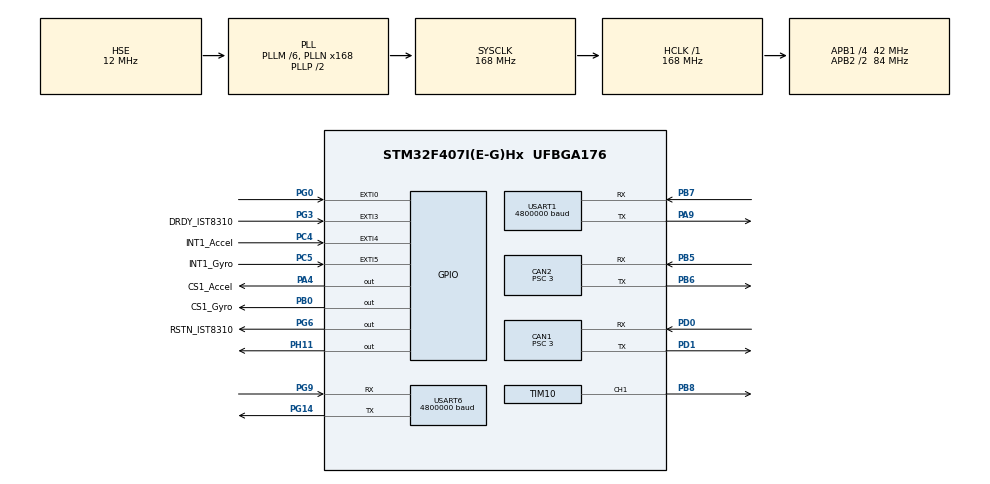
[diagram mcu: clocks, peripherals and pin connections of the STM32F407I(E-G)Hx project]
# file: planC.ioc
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CAN1.BS1=CAN_BS1_10TQ
CAN1.BS2=CAN_BS2_3TQ
CAN1.CalculateBaudRate=1000000
CAN1.CalculateTimeBit=1000
CAN1.CalculateTimeQuantum=71.42857142857143
CAN1.Prescaler=3
CAN2.BS1=CAN_BS1_10TQ
CAN2.BS2=CAN_BS2_3TQ
CAN2.CalculateBaudRate=1000000
CAN2.CalculateTimeBit=1000
CAN2.CalculateTimeQuantum=71.42857142857143
CAN2.Prescaler=3
Dma.Request0=USART1_TX
Dma.Request1=USART6_TX
Dma.Request2=USART1_RX
Dma.Request3=USART6_RX
Dma.USART1_RX.2.Direction=DMA_PERIPH_TO_MEMORY
Dma.USART1_RX.2.FIFOMode=DMA_FIFOMODE_DISABLE
Dma.USART1_RX.2.Instance=DMA2_Stream5
Dma.USART1_RX.2.MemDataAlignment=DMA_MDATAALIGN_BYTE
Dma.USART1_RX.2.MemInc=DMA_MINC_ENABLE
Dma.USART1_RX.2.Mode=DMA_NORMAL
Dma.USART1_RX.2.PeriphDataAlignment=DMA_PDATAALIGN_BYTE
Dma.USART1_RX.2.PeriphInc=DMA_PINC_DISABLE
Dma.USART1_RX.2.Priority=DMA_PRIORITY_VERY_HIGH
Dma.USART1_TX.0.Direction=DMA_MEMORY_TO_PERIPH
Dma.USART1_TX.0.FIFOMode=DMA_FIFOMODE_DISABLE
Dma.USART1_TX.0.Instance=DMA2_Stream7
Dma.USART1_TX.0.MemDataAlignment=DMA_MDATAALIGN_BYTE
Dma.USART1_TX.0.MemInc=DMA_MINC_ENABLE
Dma.USART1_TX.0.Mode=DMA_NORMAL
Dma.USART1_TX.0.PeriphDataAlignment=DMA_PDATAALIGN_BYTE
Dma.USART1_TX.0.PeriphInc=DMA_PINC_DISABLE
Dma.USART1_TX.0.Priority=DMA_PRIORITY_VERY_HIGH
Dma.USART6_RX.3.Direction=DMA_PERIPH_TO_MEMORY
Dma.USART6_RX.3.FIFOMode=DMA_FIFOMODE_DISABLE
Dma.USART6_RX.3.Instance=DMA2_Stream1
Dma.USART6_RX.3.MemDataAlignment=DMA_MDATAALIGN_BYTE
Dma.USART6_RX.3.MemInc=DMA_MINC_ENABLE
Dma.USART6_RX.3.Mode=DMA_NORMAL
Dma.USART6_RX.3.PeriphDataAlignment=DMA_PDATAALIGN_BYTE
Dma.USART6_RX.3.PeriphInc=DMA_PINC_DISABLE
Dma.USART6_RX.3.Priority=DMA_PRIORITY_VERY_HIGH
Dma.USART6_TX.1.Direction=DMA_MEMORY_TO_PERIPH
Dma.USART6_TX.1.FIFOMode=DMA_FIFOMODE_DISABLE
Dma.USART6_TX.1.Instance=DMA2_Stream6
Dma.USART6_TX.1.MemDataAlignment=DMA_MDATAALIGN_BYTE
Dma.USART6_TX.1.MemInc=DMA_MINC_ENABLE
Dma.USART6_TX.1.Mode=DMA_NORMAL
Dma.USART6_TX.1.PeriphDataAlignment=DMA_PDATAALIGN_BYTE
Dma.USART6_TX.1.PeriphInc=DMA_PINC_DISABLE
Dma.USART6_TX.1.Priority=DMA_PRIORITY_VERY_HIGH
Mcu.Family=STM32F4
Mcu.Name=STM32F407I(E-G)Hx
Mcu.Package=UFBGA176
NVIC.CAN1_RX0_IRQn=true\:2\:0\:true\:false\:true\:true\:true\:true
NVIC.CAN1_RX1_IRQn=true\:2\:0\:true\:false\:true\:true\:true\:true
NVIC.CAN2_RX0_IRQn=true\:5\:0\:true\:false\:true\:true\:true\:true
NVIC.CAN2_RX1_IRQn=true\:5\:0\:true\:false\:true\:true\:true\:true
NVIC.DMA2_Stream1_IRQn=true\:0\:0\:false\:false\:true\:false\:true\:false
NVIC.DMA2_Stream5_IRQn=true\:0\:0\:false\:false\:true\:false\:true\:true
NVIC.DMA2_Stream6_IRQn=true\:0\:0\:false\:false\:true\:true\:true\:true
NVIC.DMA2_Stream7_IRQn=true\:0\:0\:false\:false\:true\:true\:true\:true
NVIC.EXTI0_IRQn=true\:6\:0\:true\:false\:true\:true\:true\:true
NVIC.EXTI3_IRQn=true\:0\:0\:false\:false\:true\:true\:true\:true
NVIC.EXTI4_IRQn=true\:0\:0\:false\:false\:true\:true\:true\:true
NVIC.EXTI9_5_IRQn=true\:5\:0\:true\:false\:true\:true\:true\:true
NVIC.PriorityGroup=NVIC_PRIORITYGROUP_4
NVIC.TIM4_IRQn=true\:3\:0\:true\:false\:true\:true\:true\:true
NVIC.USART1_IRQn=true\:1\:0\:true\:false\:false\:true\:true\:true
NVIC.USART6_IRQn=true\:1\:0\:true\:false\:false\:true\:true\:true
PA13.Mode=Serial_Wire
PA13.Signal=SYS_JTMS-SWDIO
PA14.Mode=Serial_Wire
PA14.Signal=SYS_JTCK-SWCLK
PA4.GPIO_Label=CS1_Accel
PA4.GPIO_PuPd=GPIO_PULLUP
PA4.GPIO_Speed=GPIO_SPEED_FREQ_HIGH
PA4.PinState=GPIO_PIN_SET
PA4.Signal=GPIO_Output
PA9.Mode=Asynchronous
PA9.Signal=USART1_TX
PB0.GPIO_Label=CS1_Gyro
PB0.GPIO_PuPd=GPIO_PULLUP
PB0.GPIO_Speed=GPIO_SPEED_FREQ_HIGH
PB0.PinState=GPIO_PIN_SET
PB0.Signal=GPIO_Output
PB5.Mode=CAN_Activate
PB5.Signal=CAN2_RX
PB6.Mode=CAN_Activate
PB6.Signal=CAN2_TX
PB7.Mode=Asynchronous
PB7.Signal=USART1_RX
PB8.Signal=S_TIM10_CH1
PC4.GPIO_Label=INT1_Accel
PC4.GPIO_ModeDefaultEXTI=GPIO_MODE_IT_FALLING
PC4.GPIO_PuPd=GPIO_PULLUP
PC4.Signal=GPXTI4
PC5.GPIO_Label=INT1_Gyro
PC5.GPIO_ModeDefaultEXTI=GPIO_MODE_IT_FALLING
PC5.GPIO_PuPd=GPIO_PULLUP
PC5.Signal=GPXTI5
PD0.Mode=CAN_Activate
PD0.Signal=CAN1_RX
PD1.Mode=CAN_Activate
PD1.Signal=CAN1_TX
PG0.GPIO_ModeDefaultEXTI=GPIO_MODE_IT_FALLING
PG0.GPIO_PuPd=GPIO_PULLUP
PG0.Signal=GPXTI0
PG14.Mode=Asynchronous
PG14.Signal=USART6_TX
PG3.GPIO_Label=DRDY_IST8310 
PG3.GPIO_ModeDefaultEXTI=GPIO_MODE_IT_FALLING
PG3.GPIO_PuPd=GPIO_PULLUP
PG3.Signal=GPXTI3
PG6.GPIO_Label=RSTN_IST8310 
PG6.GPIO_PuPd=GPIO_PULLUP
PG6.GPIO_Speed=GPIO_SPEED_FREQ_MEDIUM
PG6.PinState=GPIO_PIN_SET
PG6.Signal=GPIO_Output
PG9.Mode=Asynchronous
PG9.Signal=USART6_RX
PH0-OSC_IN.Mode=HSE-External-Oscillator
PH0-OSC_IN.Signal=RCC_OSC_IN
PH1-OSC_OUT.Mode=HSE-External-Oscillator
PH1-OSC_OUT.Signal=RCC_OSC_OUT
PH11.GPIO_Speed=GPIO_SPEED_FREQ_HIGH
PH11.PinState=GPIO_PIN_RESET
PH11.Signal=GPIO_Output
ProjectManager.HeapSize=0x200
ProjectManager.StackSize=0x400
ProjectManager.TargetToolchain=Makefile
RCC.48MHZClocksFreq_Value=84000000
RCC.AHBFreq_Value=168000000
RCC.APB1CLKDivider=RCC_HCLK_DIV4
RCC.APB1Freq_Value=42000000
RCC.APB1TimFreq_Value=84000000
RCC.APB2CLKDivider=RCC_HCLK_DIV2
RCC.APB2Freq_Value=84000000
RCC.APB2TimFreq_Value=168000000
RCC.CortexFreq_Value=168000000
RCC.HCLKFreq_Value=168000000
RCC.HSE_VALUE=12000000
RCC.HSI_VALUE=16000000
RCC.LSE_VALUE=32768
RCC.PLLM=6
RCC.PLLN=168
RCC.PLLSourceVirtual=RCC_PLLSOURCE_HSE
RCC.SYSCLKFreq_VALUE=168000000
RCC.SYSCLKSource=RCC_SYSCLKSOURCE_PLLCLK
RCC.VCOOutputFreq_Value=336000000
SH.S_TIM10_CH1.0=TIM10_CH1,PWM Generation1 CH1
TIM10.Channel=TIM_CHANNEL_1
TIM4.Channel-PWM\ Generation1\ No\ Output=TIM_CHANNEL_1
TIM4.Period=999
TIM4.Prescaler=179
USART1.BaudRate=4800000
USART1.VirtualMode=VM_ASYNC
USART6.BaudRate=4800000
USART6.VirtualMode=VM_ASYNC
VP_TIM10_VS_ClockSourceINT.Mode=Enable_Timer
VP_TIM4_VS_no_output1.Mode=PWM Generation1 No Output
board=custom

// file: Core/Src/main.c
/* USER CODE BEGIN Header */
/**
 ******************************************************************************
 * @file           : main.c
 * @brief          : Main program body
 ******************************************************************************
 * @attention
 *
 * Copyright (c) 2024 STMicroelectronics.
 * All rights reserved.
 *
 * This software is licensed under terms that can be found in the LICENSE file
 * in the root directory of this software component.
 * If no LICENSE file comes with this software, it is provided AS-IS.
 *
 ******************************************************************************
 */
#define F_LEG 0
#define B_LEG 1

/* USER CODE END Header */
#include "main.h"
#include "can.h"
#include "dma.h"
#include "tim.h"
#include "usart.h"
#include "gpio.h"

/* USER CODE BEGIN Includes */

#include "unitreeA1_cmd.h"
#include <string.h>
#include <stdio.h>
#include "bsp_can.h"
#include "struct_typedef.h"
#include "RC.h"

/* USER CODE END Includes */

void SystemClock_Config(void);

int main(void)
{

  /* MCU Configuration--------------------------------------------------------*/

  /* Reset of all peripherals, Initializes the Flash interface and the Systick. */
  HAL_Init();

  /* Configure the system clock */
  SystemClock_Config();

  /* Initialize all configured peripherals */
  MX_GPIO_Init();
  MX_DMA_Init();
  MX_CAN1_Init();
  MX_CAN2_Init();
  MX_USART1_UART_Init();
  MX_USART6_UART_Init();
  MX_TIM10_Init();
  MX_TIM4_Init();
  /* USER CODE BEGIN 2 */

  remote_control_init();
  CAN_InitArgument();
  MX_TIM4_Init();
  HAL_TIM_Base_Start_IT(&htim4);

  /* USER CODE END 2 */

  /* Infinite loop */
  /* USER CODE BEGIN WHILE */

  int i = 0;
  while (1)
  {
    uint8_t byte[8];

    if (i == 0)
    {
      Float_to_Byte(data_motor[0][0].T, data_motor[0][0].Pos, byte); // 转换数据
      CAN_send_data(&hcan1, 0x40, byte);                             // 发送数据包A（内含t，w）
      Float_to_Byte(data_motor[0][0].W, data_motor[0][0].Acc, byte);
      CAN_send_data(&hcan1, 0x41, byte);
    }
    else if (i == 1)
    {
      Float_to_Byte(data_motor[0][1].T, data_motor[0][1].Pos, byte); // 转换数据
      CAN_send_data(&hcan1, 0x42, byte);                             // 发送数据包A（内含t，w）
      Float_to_Byte(data_motor[0][1].W, data_motor[0][1].Acc, byte);
      CAN_send_data(&hcan1, 0x43, byte);
    }
    else if (i == 2)
    {
      Float_to_Byte(data_motor[0][2].T, data_motor[0][2].Pos, byte); // 转换数据
      CAN_send_data(&hcan1, 0x44, byte);                             // 发送数据包A（内含t，w）
      Float_to_Byte(data_motor[0][2].W, data_motor[0][2].Acc, byte);
      CAN_send_data(&hcan1, 0x45, byte);
    }
    else if (i == 3)
    {
      Float_to_Byte(data_motor[1][0].T, data_motor[1][0].Pos, byte); // 转换数据
      CAN_send_data(&hcan1, 0x46, byte);                             // 发送数据包A（内含t，w）
      Float_to_Byte(data_motor[1][0].W, data_motor[1][0].Acc, byte);
      CAN_send_data(&hcan1, 0x47, byte);
    }
    else if (i == 4)
    {
      Float_to_Byte(data_motor[1][1].T, data_motor[1][1].Pos, byte); // 转换数据
      CAN_send_data(&hcan1, 0x48, byte);                             // 发送数据包A（内含t，w）
      Float_to_Byte(data_motor[1][1].W, data_motor[1][1].Acc, byte);
      CAN_send_data(&hcan1, 0x49, byte);
    }
    else if (i == 5)
    {
      Float_to_Byte(data_motor[1][2].T, data_motor[1][2].Pos, byte); // 转换数据
      CAN_send_data(&hcan1, 0x4A, byte);                             // 发送数据包A（内含t，w）
      Float_to_Byte(data_motor[1][2].W, data_motor[1][2].Acc, byte);
      CAN_send_data(&hcan1, 0x4B, byte);
    }
    else
    {
      i = -1;
    }

    i++;

    /* USER CODE END WHILE */

  }
}

void SystemClock_Config(void)
{
  RCC_OscInitTypeDef RCC_OscInitStruct = {0};
  RCC_ClkInitTypeDef RCC_ClkInitStruct = {0};

  /** Configure the main internal regulator output voltage
   */
  __HAL_RCC_PWR_CLK_ENABLE();
  __HAL_PWR_VOLTAGESCALING_CONFIG(PWR_REGULATOR_VOLTAGE_SCALE1);

  /** Initializes the RCC Oscillators according to the specified parameters
   * in the RCC_OscInitTypeDef structure.
   */
  RCC_OscInitStruct.OscillatorType = RCC_OSCILLATORTYPE_HSE;
  RCC_OscInitStruct.HSEState = RCC_HSE_ON;
  RCC_OscInitStruct.PLL.PLLState = RCC_PLL_ON;
  RCC_OscInitStruct.PLL.PLLSource = RCC_PLLSOURCE_HSE;
  RCC_OscInitStruct.PLL.PLLM = 6;
  RCC_OscInitStruct.PLL.PLLN = 168;
  RCC_OscInitStruct.PLL.PLLP = RCC_PLLP_DIV2;
  RCC_OscInitStruct.PLL.PLLQ = 4;
  if (HAL_RCC_OscConfig(&RCC_OscInitStruct) != HAL_OK)
  {
    Error_Handler();
  }

  /** Initializes the CPU, AHB and APB buses clocks
   */
  RCC_ClkInitStruct.ClockType = RCC_CLOCKTYPE_HCLK | RCC_CLOCKTYPE_SYSCLK | RCC_CLOCKTYPE_PCLK1 | RCC_CLOCKTYPE_PCLK2;
  RCC_ClkInitStruct.SYSCLKSource = RCC_SYSCLKSOURCE_PLLCLK;
  RCC_ClkInitStruct.AHBCLKDivider = RCC_SYSCLK_DIV1;
  RCC_ClkInitStruct.APB1CLKDivider = RCC_HCLK_DIV4;
  RCC_ClkInitStruct.APB2CLKDivider = RCC_HCLK_DIV2;

  if (HAL_RCC_ClockConfig(&RCC_ClkInitStruct, FLASH_LATENCY_5) != HAL_OK)
  {
    Error_Handler();
  }
}

void Error_Handler(void)
{
  __disable_irq();
  while (1)
  {
  }
}
